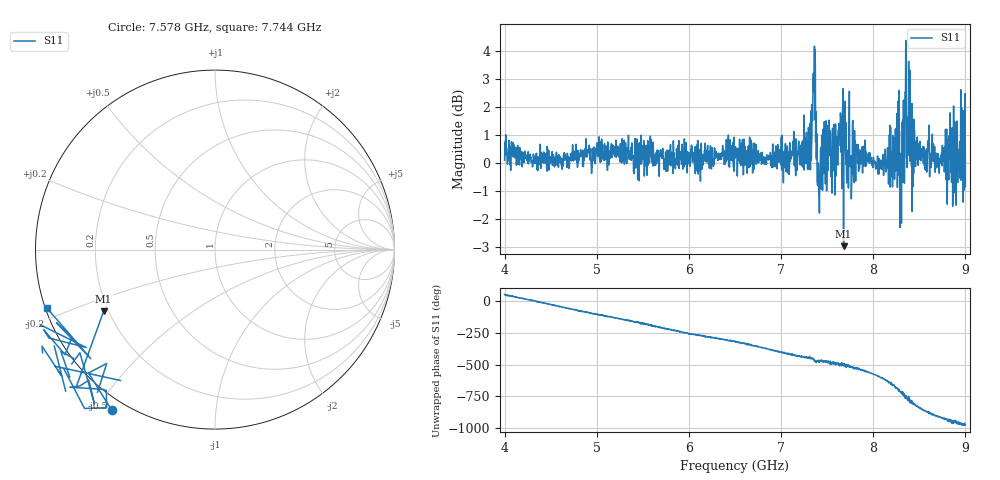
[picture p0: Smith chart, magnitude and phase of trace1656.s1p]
! Created with skrf 1.8.0 (http://scikit-rf.org).
# Hz S RI R 50.0
!freq ReS11 ImS11
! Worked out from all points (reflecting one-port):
!   1601 points, 4 GHz to 9 GHz, reference 50 ohm
!   lowest |S11| = -3.0 dB at 7.678 GHz (marker M1), VSWR 5.88, Z = 9.05 - j12.5 ohm
!   phase of S11 starts at 54 deg and turns -1028 deg over the sweep
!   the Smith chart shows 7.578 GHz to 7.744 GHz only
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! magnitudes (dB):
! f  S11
! 4 GHz  0.1
! 4.625 GHz  -0.2
! 5.25 GHz  0.0
! 5.875 GHz  0.0
! 6.5 GHz  0.2
! 7.125 GHz  0.3
! 7.309 GHz  0.5
! 7.347 GHz  2.8
! 7.362 GHz  4.2
! 7.4 GHz  -0.2
! 7.412 GHz  -1.0
! 7.466 GHz  0.0
! 7.562 GHz  -0.1
! 7.647 GHz  1.6
! 7.678 GHz  -3.0
! 7.75 GHz  -0.1
! 8.094 GHz  0.0
! 8.209 GHz  -0.9
! 8.259 GHz  1.2
! 8.284 GHz  1.1
! 8.312 GHz  1.4
! 8.334 GHz  1.4
! 8.375 GHz  0.3
! 8.447 GHz  1.2
! 8.697 GHz  -0.1
! 8.919 GHz  -0.2
! 8.972 GHz  0.3
! 9 GHz  -0.9
